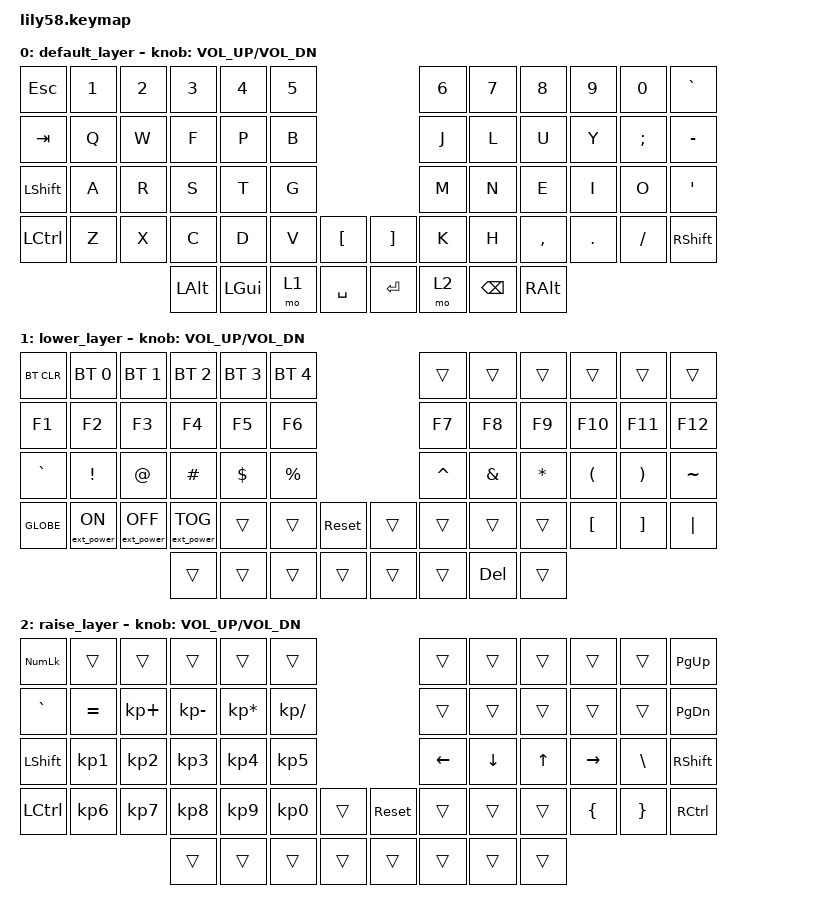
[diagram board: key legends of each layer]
/*
 * Copyright (c) 2020 The ZMK Contributors
 *
 * SPDX-License-Identifier: MIT
 */

#include <behaviors.dtsi>
#include <dt-bindings/zmk/keys.h>
#include <dt-bindings/zmk/bt.h>
#include <dt-bindings/zmk/ext_power.h>


/ {
	
	keymap {
		compatible = "zmk,keymap";

		default_layer {
// ------------------------------------------------------------------------------------------------------------
// |  ESC  |  1  |  2  |  3   |  4   |  5   |                   |  6   |  7    |  8    |  9   |   0   |   `   |
// |  TAB  |  Q  |  W  |  F   |  P   |  B   |                   |  J   |  L    |  U    |  Y   |   ;   |   -   |
// | SHIFT |  A  |  R  |  S   |  T   |  G   |                   |  M   |  N    |  E    |  I   |   O   |   '   |
// | CTRL  |  Z  |  X  |  C   |  D   |  V   |   "["  |  |  "]"  |  K   |  H    |  ,    |  .   |   /   | SHIFT |
//                     | ALT  | GUI  | LOWER|  SPACE |  | ENTER | RAISE| BSPC  | CMENU |
			bindings = <
&kp ESC   &kp N1 &kp N2 &kp N3   &kp N4   &kp N5                     &kp N6 &kp N7   &kp N8    &kp N9  &kp N0   &kp GRAVE
&kp TAB   &kp Q  &kp W  &kp F    &kp P    &kp B                      &kp J  &kp L    &kp U     &kp Y   &kp SEMI &kp MINUS
&kp LSHFT &kp A  &kp R  &kp S    &kp T    &kp G                      &kp M  &kp N    &kp E     &kp I   &kp O    &kp SQT
&kp LCTRL &kp Z  &kp X  &kp C    &kp D    &kp V  &kp LBKT   &kp RBKT &kp K  &kp H    &kp COMMA &kp DOT &kp FSLH &kp RSHFT
                        &kp LALT &kp LGUI &mo 1  &kp SPACE  &kp RET  &mo 2  &kp BSPC &kp RALT
			>;

			sensor-bindings = <&inc_dec_kp C_VOL_UP C_VOL_DN>;
		};

		lower_layer {
// ------------------------------------------------------------------------------------------------------------
// | BTCLR | BT1 | BT2 |  BT3 |  BT4 |  BT5 |                   |      |       |       |      |       |       |
// |  F1   |  F2 |  F3 |  F4  |  F5  |  F6  |                   |  F7  |  F8   |  F9   |  F10 |  F11  |  F12  |
// |   `   |  !  |  @  |  #   |  $   |  %   |                   |  ^   |  &    |  *    |  (   |   )   |   ~   |
// |       |     |     |      |      |      |        |  |       |      |       |       |  [   |   ]   |  "|"  |
//                     |      |      |      |        |  |       |      |  DEL  | PSCRN |
			bindings = <
&bt BT_CLR &bt BT_SEL 0     &bt BT_SEL 1      &bt BT_SEL 2      &bt BT_SEL 3 &bt BT_SEL 4                        &trans    &trans    &trans          &trans    &trans    &trans
&kp F1     &kp F2           &kp F3            &kp F4            &kp F5       &kp F6                              &kp F7    &kp F8    &kp F9          &kp F10   &kp F11   &kp F12
&kp GRAVE  &kp EXCL         &kp AT            &kp HASH          &kp DOLLAR   &kp PRCNT                           &kp CARET &kp AMPS  &kp ASTRK       &kp LPAR  &kp RPAR  &kp TILDE
&kp GLOBE  &ext_power EP_ON &ext_power EP_OFF &ext_power EP_TOG &trans       &trans       &sys_reset   &trans    &trans    &trans    &trans          &kp LBKT  &kp RBKT  &kp PIPE
                                              &trans            &trans       &trans       &trans   &trans        &trans    &kp DEL   &trans
			>;

			sensor-bindings = <&inc_dec_kp C_VOL_UP C_VOL_DN>;
		};

		raise_layer {
// ------------------------------------------------------------------------------------------------------------
// | NLCK  |     |     |      |      |      |                   |      |       |       |      |       | PG_UP |
// |   `   |  =  |  +  |  -   |  *   |  /   |                   |      |       |       |      |       | PG_DN |
// | SHIFT |  1  |  2  |  3   |  4   |  5   |                   |  <-  |   ^   |   v   |  ->  |   \   | SHIFT |
// | CTRL  |  6  |  7  |  8   |  9   |  0   |        |  |       |      |       |       |  {   |   }   | CTRL  |
//                     |      |      |      |        |  |       |      |       |       |
			bindings = <
&kp KP_NUM   &trans       &trans      &trans        &trans           &trans                                 &trans      &trans       &trans       &trans    &trans    &kp PG_UP
&kp GRAVE    &kp EQUAL    &kp KP_PLUS &kp KP_MINUS  &kp KP_MULTIPLY  &kp KP_DIVIDE                          &trans      &trans       &trans       &trans    &trans    &kp PG_DN
&kp LSHFT    &kp KP_N1    &kp KP_N2   &kp KP_N3     &kp KP_N4        &kp KP_N5                     	        &kp LEFT    &kp DOWN     &kp UP       &kp RIGHT &kp BSLH  &kp RSHFT
&kp LCTRL    &kp KP_N6    &kp KP_N7   &kp KP_N8     &kp KP_N9        &kp KP_N0       &trans   &sys_reset    &trans      &trans       &trans       &kp LBRC  &kp RBRC  &kp RCTRL
                                      &trans        &trans           &trans          &trans   &trans        &trans      &trans       &trans
			>;

			sensor-bindings = <&inc_dec_kp C_VOL_UP C_VOL_DN>;
		};
	};
};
